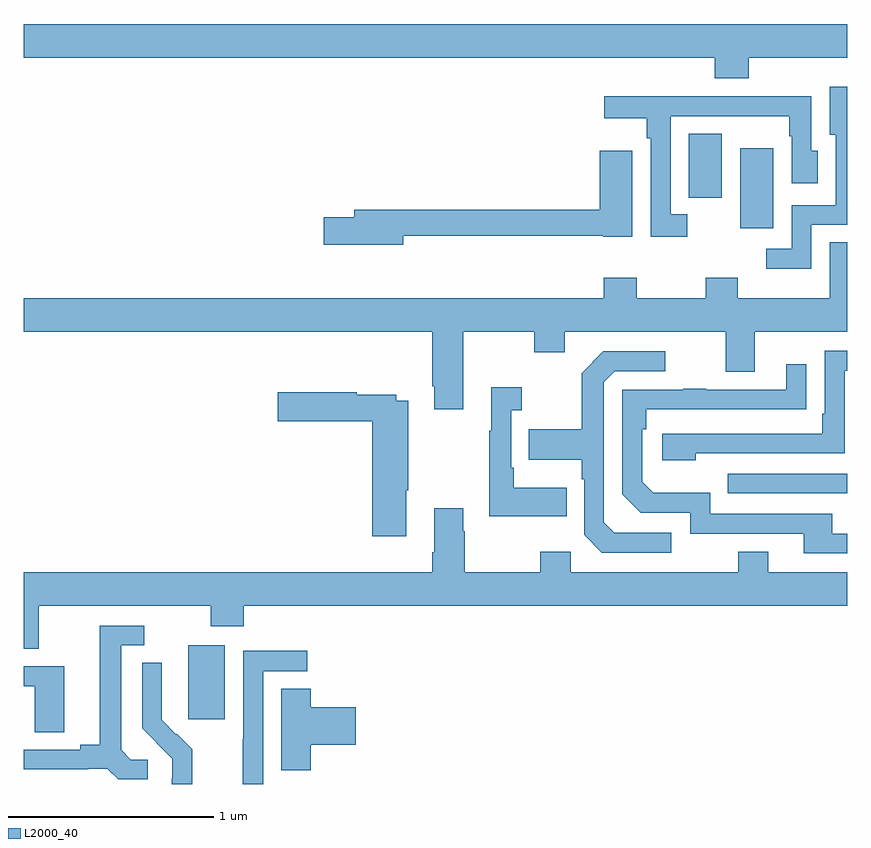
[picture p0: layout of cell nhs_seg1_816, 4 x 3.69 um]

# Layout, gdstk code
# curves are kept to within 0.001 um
import gdstk
lib = gdstk.Library(unit=1e-6, precision=1e-09)
def R(c, l, rs):  # rectangles x0, y0, x1, y1
    for r in rs: c.add(gdstk.rectangle(r[:2], r[2:], *l))
def P(c, l, *ps):  # polygons
    for p in ps: c.add(gdstk.Polygon(p, *l))
L2000_40 = (2000, 40)

nhs_seg1_816 = lib.new_cell('nhs_seg1_816')
R(nhs_seg1_816, L2000_40, [(155.798,552.513,155.977,552.874), (158.419,553.611,159,553.707), (158.48,554.9,158.641,555.289), (158.231,555.048,158.392,555.359)])
P(nhs_seg1_816, L2000_40, [(158.522,555.728),(159,555.728),(159,555.892),(155,555.892),(155,555.728),(158.357,555.728),(158.357,555.629),(158.522,555.629)],
  [(158.826,554.916),(159,554.916),(159,555.586),(158.915,555.586),(158.915,555.353),(158.945,555.353),(158.945,555.012),(158.73,555.012),(158.73,554.799),(158.607,554.799),(158.607,554.702),(158.826,554.702)],
  [(158.224,554.967),(158.142,554.967),(158.142,555.444),(158.488,555.444),(158.488,555.443),(158.718,555.443),(158.718,555.347),(158.73,555.347),(158.73,555.117),(158.857,555.117),(158.857,555.276),(158.826,555.276),(158.826,555.542),(158.605,555.542),(158.605,555.54),(158.239,555.54),(158.239,555.542),(157.821,555.542),(157.821,555.434),(158.026,555.434),(158.026,555.338),(158.046,555.338),(158.046,554.859),(158.224,554.859)],
  [(156.844,554.862),(157.815,554.862),(157.815,554.858),(157.957,554.858),(157.957,555.277),(157.799,555.277),(157.799,554.99),(156.605,554.99),(156.605,554.954),(156.456,554.954),(156.456,554.819),(156.844,554.819)],
  [(157.135,554.396),(157.48,554.396),(157.48,554.297),(157.627,554.297),(157.627,554.396),(158.411,554.396),(158.411,554.202),(158.551,554.202),(158.551,554.396),(159,554.396),(159,554.831),(158.915,554.831),(158.915,554.56),(158.469,554.56),(158.469,554.659),(158.314,554.659),(158.314,554.56),(157.977,554.56),(157.977,554.659),(157.817,554.659),(157.817,554.56),(155,554.56),(155,554.396),(156.983,554.396),(156.983,554.131),(156.995,554.131),(156.995,554.019),(157.135,554.019)],
  [(158.264,553.806),(158.988,553.806),(158.988,554.208),(159,554.208),(159,554.304),(158.892,554.304),(158.892,553.999),(158.879,553.999),(158.879,553.902),(158.103,553.902),(158.103,553.772),(158.264,553.772)],
  [(158.146,553.419),(157.869,553.419),(157.818,553.47),(157.818,554.151),(157.872,554.205),(158.116,554.205),(158.116,554.301),(157.815,554.301),(157.71,554.195),(157.71,553.923),(157.453,553.923),(157.453,553.775),(157.71,553.775),(157.71,553.679),(157.722,553.679),(157.722,553.41),(157.809,553.323),(158.146,553.323)],
  [(159,553.416),(158.929,553.416),(158.929,553.512),(158.334,553.512),(158.334,553.615),(158.057,553.615),(158.004,553.668),(158.004,553.922),(158.024,553.922),(158.024,554.019),(158.801,554.02),(158.801,554.239),(158.705,554.239),(158.705,554.115),(158.315,554.115),(158.315,554.12),(158.203,554.12),(158.203,554.115),(157.908,554.115),(157.908,553.608),(157.998,553.518),(158.238,553.518),(158.238,553.416),(158.789,553.416),(158.789,553.32),(159,553.32)],
  [(157.637,553.639),(157.381,553.639),(157.381,553.735),(157.368,553.735),(157.368,554.015),(157.42,554.015),(157.42,554.128),(157.271,554.128),(157.271,553.915),(157.26,553.915),(157.26,553.499),(157.637,553.499)],
  [(156.859,553.627),(156.867,553.627),(156.867,554.062),(156.81,554.062),(156.81,554.091),(156.618,554.091),(156.618,554.103),(156.234,554.103),(156.234,553.961),(156.692,553.961),(156.692,553.404),(156.859,553.404)],
  [(155.071,553.064),(155.908,553.064),(155.908,552.965),(156.068,552.965),(156.068,553.064),(159,553.064),(159,553.228),(158.617,553.228),(158.617,553.327),(158.47,553.327),(158.47,553.228),(157.656,553.228),(157.656,553.327),(157.51,553.327),(157.51,553.228),(157.143,553.228),(157.143,553.427),(157.135,553.427),(157.135,553.54),(156.995,553.54),(156.995,553.324),(156.983,553.324),(156.983,553.228),(155,553.228),(155,552.856),(155.071,552.856)],
  [(155.602,552.318),(155.52,552.318),(155.473,552.365),(155.473,552.873),(155.584,552.873),(155.584,552.969),(155.369,552.969),(155.369,552.389),(155.273,552.389),(155.273,552.366),(155,552.366),(155,552.27),(155.312,552.27),(155.312,552.273),(155.406,552.273),(155.458,552.221),(155.602,552.221)],
  [(156.162,552.747),(156.376,552.747),(156.376,552.846),(156.066,552.846),(156.066,552.416),(156.064,552.416),(156.064,552.199),(156.162,552.199)],
  [(155.819,552.367),(155.742,552.444),(155.739,552.441),(155.669,552.512),(155.67,552.788),(155.574,552.788),(155.574,552.47),(155.72,552.322),(155.72,552.225),(155.718,552.225),(155.718,552.199),(155.819,552.199)],
  [(155.197,552.771),(155,552.771),(155,552.675),(155.052,552.675),(155.052,552.451),(155.197,552.451)],
  [(156.395,552.389),(156.613,552.389),(156.613,552.572),(156.395,552.572),(156.395,552.662),(156.251,552.662),(156.251,552.265),(156.395,552.265)])

lib.write_gds('nhs_seg1_816.gds')
